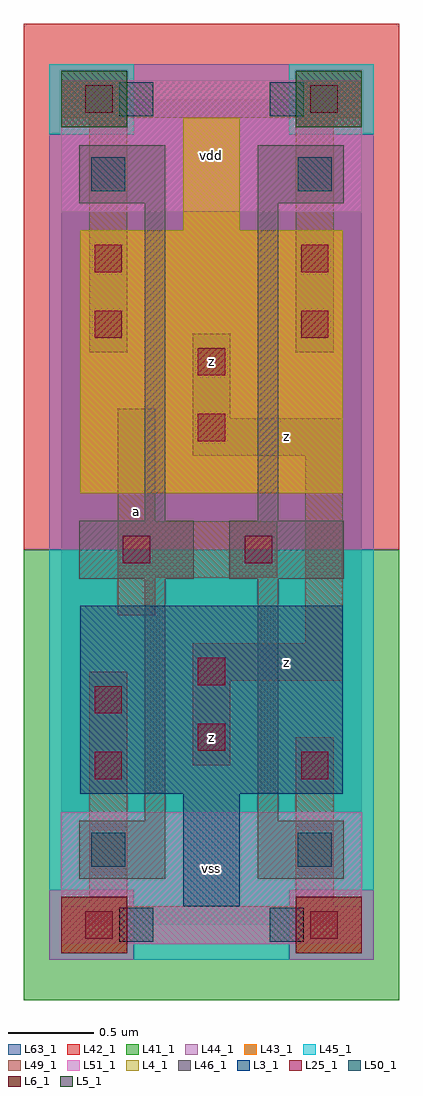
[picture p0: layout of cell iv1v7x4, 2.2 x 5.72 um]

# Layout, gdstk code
import gdstk
lib = gdstk.Library(unit=1e-6, precision=1e-09)
def R(c, l, rs):  # rectangles x0, y0, x1, y1
    for r in rs: c.add(gdstk.rectangle(r[:2], r[2:], *l))
L3_1 = (3, 1)
L4_1 = (4, 1)
L5_1 = (5, 1)
L6_1 = (6, 1)
L25_1 = (25, 1)
L41_1 = (41, 1)
L42_1 = (42, 1)
L43_1 = (43, 1)
L44_1 = (44, 1)
L45_1 = (45, 1)
L46_1 = (46, 1)
L49_1 = (49, 1)
L50_1 = (50, 1)
L51_1 = (51, 1)
L63_1 = (63, 1)

iv1v7x4 = lib.new_cell('iv1v7x4')
R(iv1v7x4, L3_1, [(0.715,0.11,1.045,0.77), (0.11,0.77,1.65,1.87)])
R(iv1v7x4, L4_1, [(0.11,2.53,1.65,4.07), (0.715,4.07,1.045,4.73)])
R(iv1v7x4, L5_1, [(0,4.675,0.385,5.005), (1.375,4.675,1.76,5.005)])
R(iv1v7x4, L6_1, [(0,-0.165,0.385,0.165), (1.375,-0.165,1.76,0.165)])
R(iv1v7x4, L25_1, [(0.14,-0.08,0.3,0.08), (1.46,-0.08,1.62,0.08), (0.195,0.855,0.355,1.015), (1.405,0.855,1.565,1.015), (0.8,1.02,0.96,1.18), (0.195,1.24,0.355,1.4), (0.8,1.405,0.96,1.565), (0.36,2.12,0.52,2.28), (1.075,2.12,1.235,2.28), (0.8,2.835,0.96,2.995), (0.8,3.22,0.96,3.38), (0.195,3.44,0.355,3.6), (1.405,3.44,1.565,3.6), (0.195,3.825,0.355,3.985), (1.405,3.825,1.565,3.985), (0.14,4.76,0.3,4.92), (1.46,4.76,1.62,4.92)])
R(iv1v7x4, L41_1, [(-0.22,-0.44,1.98,2.2)])
R(iv1v7x4, L42_1, [(-0.22,2.2,1.98,5.28)])
R(iv1v7x4, L43_1, [(0,-0.165,0.385,0.165), (1.375,-0.165,1.76,0.165), (0.715,0.11,1.045,0.77), (0.11,0.77,1.65,1.87), (0.11,2.53,1.65,4.07), (0.715,4.07,1.045,4.73), (0,4.675,0.385,5.005), (1.375,4.675,1.76,5.005)])
R(iv1v7x4, L44_1, [(-0.07,-0.205,0.425,0.205), (1.335,-0.205,1.83,0.205), (-0.07,2.2,1.83,4.635), (0.425,4.635,1.335,5.045)])
R(iv1v7x4, L45_1, [(0.425,-0.205,1.335,0.205), (-0.07,0.205,1.83,2.2), (-0.07,4.635,0.425,5.045), (1.335,4.635,1.83,5.045)])
R(iv1v7x4, L46_1, [(0.105,0.27,0.61,0.61), (1.15,0.27,1.655,0.61), (0.49,0.61,0.61,2.03), (1.15,0.61,1.27,2.03), (0.105,2.03,0.775,2.37), (0.985,2.03,1.655,2.37), (0.49,2.37,0.61,4.23), (1.15,2.37,1.27,4.23), (0.105,4.23,0.61,4.57), (1.15,4.23,1.655,4.57)])
R(iv1v7x4, L49_1, [(0,-0.11,1.76,0.11), (0.165,0.11,0.385,1.485), (1.375,0.11,1.595,1.1), (0.77,0.935,0.99,1.43), (0.77,1.43,1.65,1.65), (1.43,1.65,1.65,2.75), (0.33,1.815,0.55,2.035), (0.33,2.035,1.265,2.365), (0.33,2.365,0.55,3.025), (0.77,2.75,1.65,2.97), (0.77,2.97,0.99,3.465), (0.165,3.355,0.385,4.73), (1.375,3.355,1.595,4.73), (0,4.73,1.76,4.95)])
R(iv1v7x4, L50_1, [(0.34,-0.1,0.54,0.1), (1.22,-0.1,1.42,0.1), (0.175,0.34,0.375,0.54), (1.385,0.34,1.585,0.54), (0.175,4.3,0.375,4.5), (1.385,4.3,1.585,4.5), (0.34,4.74,0.54,4.94), (1.22,4.74,1.42,4.94)])
R(iv1v7x4, L51_1, [(0,-0.11,1.76,0.66), (0,4.18,1.76,4.95)])
R(iv1v7x4, L63_1, [(0,0,1.76,4.84)])
iv1v7x4.add(gdstk.Label('a', (0.44,2.42), layer=49, texttype=1))
iv1v7x4.add(gdstk.Label('z', (0.88,1.1), layer=49, texttype=1))
iv1v7x4.add(gdstk.Label('z', (0.88,3.3), layer=49, texttype=1))
iv1v7x4.add(gdstk.Label('z', (1.32,1.54), layer=49, texttype=1))
iv1v7x4.add(gdstk.Label('z', (1.32,2.86), layer=49, texttype=1))
iv1v7x4.add(gdstk.Label('vss', (0.88,0.33), layer=51, texttype=1))
iv1v7x4.add(gdstk.Label('vss', (0.88,0.33), layer=51, texttype=1))
iv1v7x4.add(gdstk.Label('vdd', (0.88,4.51), layer=51, texttype=1))

lib.write_gds('iv1v7x4.gds')
